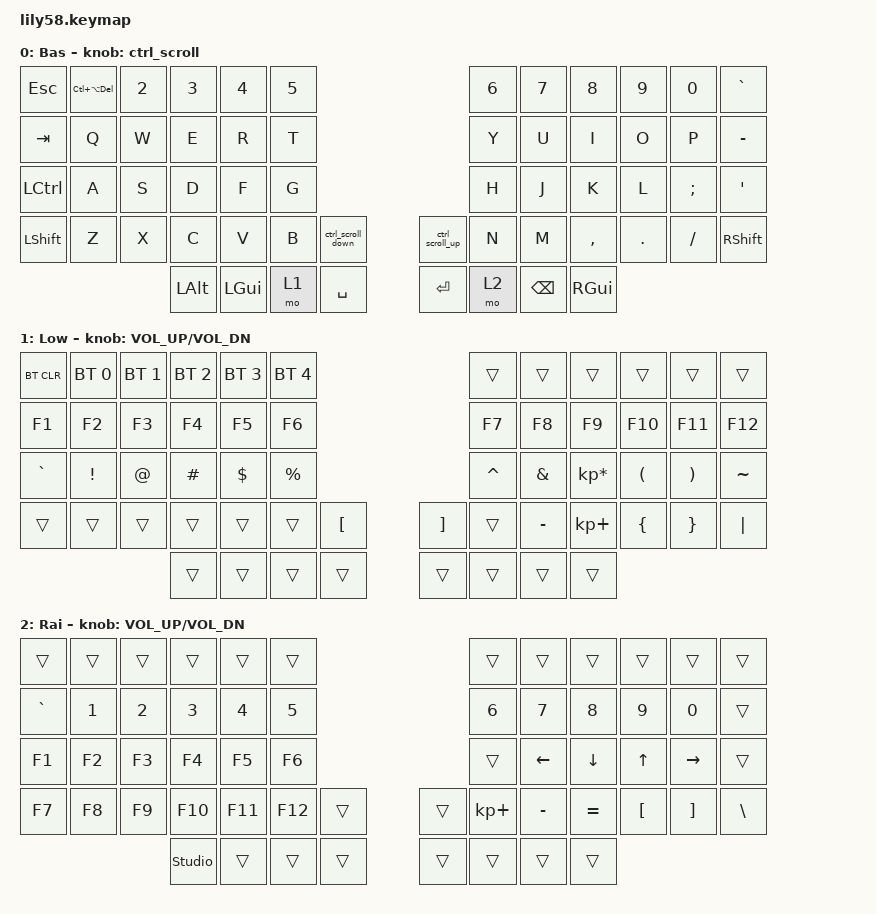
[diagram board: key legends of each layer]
/*
 * Copyright (c) 2020 The ZMK Contributors
 *
 * SPDX-License-Identifier: MIT
 */

#include <behaviors.dtsi>
#include <dt-bindings/zmk/bt.h>
#include <dt-bindings/zmk/keys.h>
#include <dt-bindings/zmk/pointing.h>

/ {
    behaviors {
        ctrl_scroll: ctrl_scroll {
            compatible = "zmk,behavior-sensor-rotate";
            #sensor-binding-cells = <0>;
            bindings = <&msc SCRL_DOWN>, <&msc SCRL_UP>;
        };

        ctrl_scroll_down: ctrl_scroll_down {
            compatible = "zmk,behavior-macro";
            #binding-cells = <0>;
            bindings =
                <&macro_press>,
                <&kp LCTRL>,
                <&macro_tap>,
                <&msc SCRL_DOWN>,
                <&macro_tap>,
                <&msc SCRL_DOWN>,
                <&macro_tap>,
                <&msc SCRL_DOWN>,
                <&macro_release>,
                <&kp LCTRL>;
        };

        ctrl_scroll_up: ctrl_scroll_up {
            compatible = "zmk,behavior-macro";
            #binding-cells = <0>;
            bindings =
                <&macro_press>,
                <&kp LCTRL>,
                <&macro_tap>,
                <&msc SCRL_UP>,
                <&macro_tap>,
                <&msc SCRL_UP>,
                <&macro_tap>,
                <&msc SCRL_UP>,
                <&macro_release>,
                <&kp LCTRL>;
        };
    };

    macros {
    };

    keymap {
        compatible = "zmk,keymap";

        default_layer {
            // ------------------------------------------------------------------------------------------------------------
            // |  ESC  |  1  |  2  |  3   |  4   |  5   |                   |  6   |  7    |  8    |  9   |   0   |   `   |
            // |  TAB  |  Q  |  W  |  E   |  R   |  T   |                   |  Y   |  U    |  I    |  O   |   P   |   -   |
            // |  CTRL |  A  |  S  |  D   |  F   |  G   |                   |  H   |  J    |  K    |  L   |   ;   |   '   |
            // | SHIFT |  Z  |  X  |  C   |  V   |  B   | ZM_OUT |  | ZM_IN  |  N   |  M    |  ,    |  .   |   /   | SHIFT |
            //                     | ALT  | GUI  | LOWER|  SPACE |  | ENTER | RAISE| BSPC  | GUI   |

            display-name = "Bas";
            bindings = <
&kp ESC    &kp LC(LA(DELETE))  &kp N2  &kp N3    &kp N4    &kp N5                                        &kp N6  &kp N7    &kp N8     &kp N9   &kp N0    &kp GRAVE
&kp TAB    &kp Q               &kp W   &kp E     &kp R     &kp T                                         &kp Y   &kp U     &kp I      &kp O    &kp P     &kp MINUS
&kp LCTRL  &kp A               &kp S   &kp D     &kp F     &kp G                                         &kp H   &kp J     &kp K      &kp L    &kp SEMI  &kp SQT
&kp LSHFT  &kp Z               &kp X   &kp C     &kp V     &kp B   &ctrl_scroll_down    &ctrl_scroll_up  &kp N   &kp M     &kp COMMA  &kp DOT  &kp FSLH  &kp RSHFT
                                       &kp LALT  &kp LGUI  &mo 1   &kp SPACE            &kp RET          &mo 2   &kp BSPC  &kp RGUI
            >;

            sensor-bindings = <&ctrl_scroll>;
        };

        lower_layer {
            // ------------------------------------------------------------------------------------------------------------
            // | BTCLR | BT1 | BT2 |  BT3 |  BT4 |  BT5 |                   |      |       |       |      |       |       |
            // |  F1   |  F2 |  F3 |  F4  |  F5  |  F6  |                   |  F7  |  F8   |  F9   |  F10 |  F11  |  F12  |
            // |   `   |  !  |  @  |  #   |  $   |  %   |                   |  ^   |  &    |  *    |  (   |   )   |   ~   |
            // |       |     |     |      |      |      |   "[" |  |  "]"  |      |  _    |  +    |  {   |   }   |  "|"  |
            //                     |      |      |      |        |  |       |      |       |       |

            display-name = "Low";
            bindings = <
&bt BT_CLR  &bt BT_SEL 0  &bt BT_SEL 1  &bt BT_SEL 2  &bt BT_SEL 3  &bt BT_SEL 4                        &trans     &trans     &trans           &trans    &trans    &trans
&kp F1      &kp F2        &kp F3        &kp F4        &kp F5        &kp F6                              &kp F7     &kp F8     &kp F9           &kp F10   &kp F11   &kp F12
&kp GRAVE   &kp EXCL      &kp AT        &kp HASH      &kp DOLLAR    &kp PRCNT                           &kp CARET  &kp AMPS   &kp KP_MULTIPLY  &kp LPAR  &kp RPAR  &kp TILDE
&trans      &trans        &trans        &trans        &trans        &trans        &kp LBKT    &kp RBKT  &trans     &kp MINUS  &kp KP_PLUS      &kp LBRC  &kp RBRC  &kp PIPE
                                        &trans        &trans        &trans        &trans      &trans    &trans     &trans     &trans
            >;

            sensor-bindings = <&inc_dec_kp C_VOL_UP C_VOL_DN>;
        };

        raise_layer {
            // ------------------------------------------------------------------------------------------------------------
            // |       |     |     |      |      |      |                   |      |       |       |      |       |       |
            // |   `   |  1  |  2  |  3   |  4   |  5   |                   |  6   |   7   |   8   |  9   |   0   |       |
            // |   F1  |  F2 |  F3 |  F4  |  F5  |  F6  |                   |      |   <-  |   v   |  ^   |  ->   |       |
            // |   F7  |  F8 |  F9 |  F10 |  F11 |  F12 |        |  |       |  +   |   -   |   =   |  [   |   ]   |   \   |
            //                     |      |      |      |        |  |       |      |       |       |

            display-name = "Rai";
            bindings = <
&trans     &trans  &trans  &trans          &trans   &trans                     &trans       &trans     &trans     &trans    &trans     &trans
&kp GRAVE  &kp N1  &kp N2  &kp N3          &kp N4   &kp N5                     &kp N6       &kp N7     &kp N8     &kp N9    &kp N0     &trans
&kp F1     &kp F2  &kp F3  &kp F4          &kp F5   &kp F6                     &trans       &kp LEFT   &kp DOWN   &kp UP    &kp RIGHT  &trans
&kp F7     &kp F8  &kp F9  &kp F10         &kp F11  &kp F12  &trans    &trans  &kp KP_PLUS  &kp MINUS  &kp EQUAL  &kp LBKT  &kp RBKT   &kp BSLH
                           &studio_unlock  &trans   &trans   &trans    &trans  &trans       &trans     &trans
            >;

            sensor-bindings = <&inc_dec_kp C_VOL_UP C_VOL_DN>;
        };

        extra_1 { status = "reserved"; };

        extra_2 { status = "reserved"; };

        extra_3 { status = "reserved"; };
    };
};
